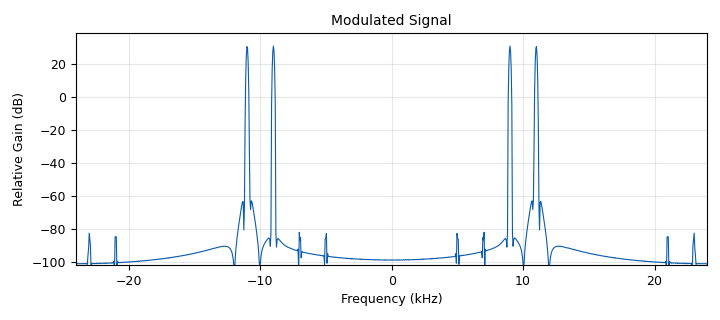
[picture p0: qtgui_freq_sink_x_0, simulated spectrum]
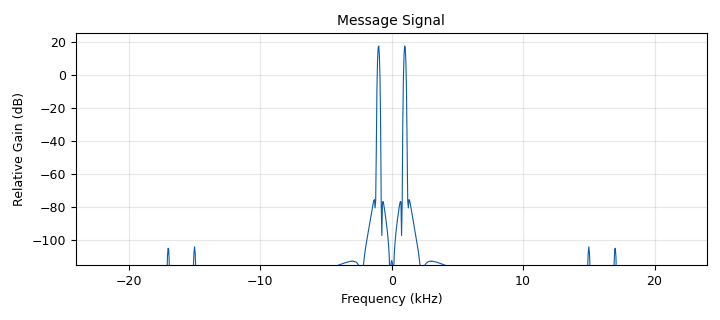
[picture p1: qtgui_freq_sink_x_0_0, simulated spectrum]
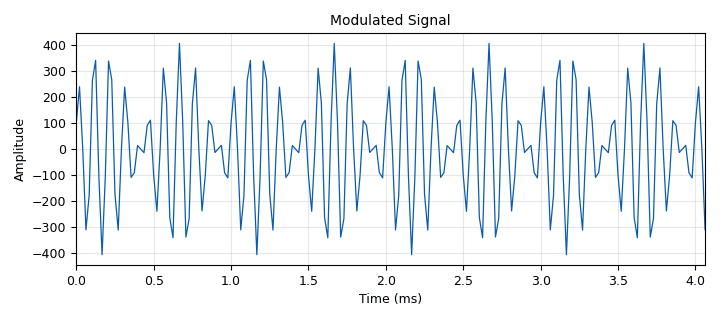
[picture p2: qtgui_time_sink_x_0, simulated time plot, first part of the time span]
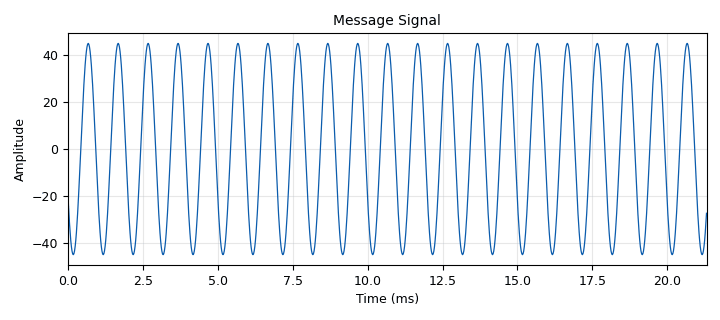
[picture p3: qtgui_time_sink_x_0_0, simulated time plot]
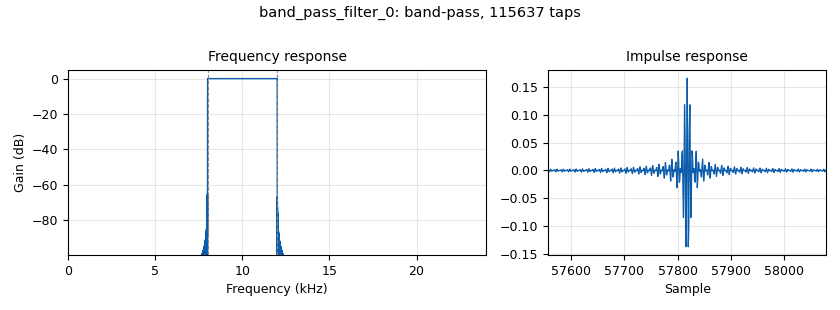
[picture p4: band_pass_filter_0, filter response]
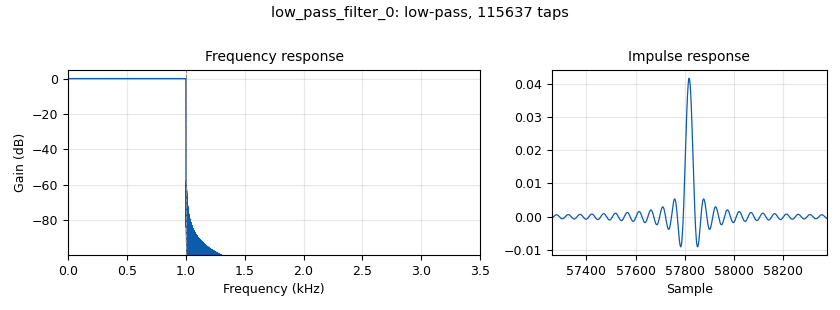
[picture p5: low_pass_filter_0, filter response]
options:
  parameters:
    author: etc-iiest
    generate_options: qt_gui
    id: dsb_sc_USRP
    output_language: python
    title: Not titled yet
  states: {}

blocks:
- name: carrier_amp
  id: variable
  parameters:
    value: msg_amp/mu
  states: {}
- name: msg_amp
  id: variable
  parameters:
    value: '45.0'
  states: {}
- name: mu
  id: variable
  parameters:
    value: '5'
  states: {}
- name: samp_rate
  id: variable
  parameters:
    value: '48000'
  states: {}
- name: analog_sig_source_x_0
  id: analog_sig_source_x
  parameters:
    amp: msg_amp
    freq: '1000'
    offset: '0'
    phase: '0'
    samp_rate: samp_rate
    type: float
    waveform: analog.GR_COS_WAVE
  states: {}
- name: analog_sig_source_x_1
  id: analog_sig_source_x
  parameters:
    amp: carrier_amp
    freq: '10000'
    offset: '0'
    phase: '0'
    samp_rate: samp_rate
    type: float
    waveform: analog.GR_COS_WAVE
  states: {}
- name: band_pass_filter_0
  id: band_pass_filter
  parameters:
    decim: '1'
    gain: '1'
    high_cutoff_freq: '12000'
    low_cutoff_freq: '8000'
    samp_rate: samp_rate
    type: fir_filter_fff
    width: '1'
    win: firdes.WIN_HAMMING
  states: {}
- name: blocks_complex_to_float_0
  id: blocks_complex_to_float
  parameters: {}
  states: {}
- name: blocks_float_to_complex_0
  id: blocks_float_to_complex
  parameters: {}
  states: {}
- name: blocks_multiply_xx_0
  id: blocks_multiply_xx
  parameters:
    type: float
  states: {}
- name: blocks_multiply_xx_2
  id: blocks_multiply_xx
  parameters:
    type: float
  states: {}
- name: blocks_throttle_0
  id: blocks_throttle
  parameters:
    samples_per_second: samp_rate
    type: float
  states: {}
- name: carrierSignal_0
  id: analog_sig_source_x
  parameters:
    amp: '1'
    freq: '10000'
    offset: '0'
    phase: '0'
    samp_rate: samp_rate
    type: float
    waveform: analog.GR_COS_WAVE
  states: {}
- name: low_pass_filter_0
  id: low_pass_filter
  parameters:
    cutoff_freq: '1000'
    decim: '1'
    gain: '1'
    samp_rate: samp_rate
    type: fir_filter_fff
    width: '1'
    win: firdes.WIN_HAMMING
  states: {}
- name: qtgui_freq_sink_x_0
  id: qtgui_freq_sink_x
  parameters:
    autoscale: 'True'
    bw: samp_rate
    ctrlpanel: 'True'
    fc: '0'
    fftsize: '1024'
    grid: 'True'
    name: '"Modulated Signal"'
    showports: 'True'
    type: float
    wintype: firdes.WIN_BLACKMAN_hARRIS
  states: {}
- name: qtgui_freq_sink_x_0_0
  id: qtgui_freq_sink_x
  parameters:
    autoscale: 'True'
    bw: samp_rate
    ctrlpanel: 'True'
    fc: '0'
    fftsize: '1024'
    grid: 'True'
    name: '"Message Signal"'
    showports: 'True'
    type: float
    wintype: firdes.WIN_BLACKMAN_hARRIS
  states: {}
- name: qtgui_freq_sink_x_0_1
  id: qtgui_freq_sink_x
  parameters:
    bw: samp_rate
    ctrlpanel: 'True'
    fc: '0'
    fftsize: '1024'
    name: '"Demodulated Signal"'
    showports: 'True'
    type: float
    wintype: firdes.WIN_BLACKMAN_hARRIS
  states: {}
- name: qtgui_freq_sink_x_0_1_0
  id: qtgui_freq_sink_x
  parameters:
    bw: samp_rate
    ctrlpanel: 'True'
    fc: '0'
    fftsize: '1024'
    name: '"LPF Input"'
    showports: 'True'
    type: float
    wintype: firdes.WIN_BLACKMAN_hARRIS
  states: {}
- name: qtgui_time_sink_x_0
  id: qtgui_time_sink_x
  parameters:
    autoscale: 'True'
    ctrlpanel: 'True'
    grid: 'True'
    label1: ''
    name: '"Modulated Signal"'
    size: '1024'
    srate: samp_rate
    type: float
  states: {}
- name: qtgui_time_sink_x_0_0
  id: qtgui_time_sink_x
  parameters:
    autoscale: 'True'
    ctrlpanel: 'True'
    grid: 'True'
    label1: ''
    name: '"Message Signal"'
    size: '1024'
    srate: samp_rate
    type: float
  states: {}
- name: qtgui_time_sink_x_0_0_0
  id: qtgui_time_sink_x
  parameters:
    autoscale: 'True'
    ctrlpanel: 'True'
    grid: 'True'
    label1: ''
    name: '"Demodulated Signal"'
    size: '1024'
    srate: samp_rate
    type: float
  states: {}
- name: uhd_usrp_sink_0
  id: uhd_usrp_sink
  parameters:
    ant0: '"TX/RX"'
    center_freq0: 1e9
    dev_addr: '"Serial=32428D5"'
    gain0: '70'
    norm_gain0: 'False'
    samp_rate: samp_rate
    sync: sync
    type: fc32
  states: {}
- name: uhd_usrp_source_1
  id: uhd_usrp_source
  parameters:
    ant0: RX2
    center_freq0: 1e9
    dc_offs_enb0: '0'
    dev_addr: '"Serial=32428D5"'
    dev_args: '""'
    gain0: '0'
    iq_imbal_enb0: '0'
    norm_gain0: 'False'
    samp_rate: samp_rate
    sync: sync
    type: fc32
  states: {}

connections:
- [analog_sig_source_x_0, '0', blocks_multiply_xx_0, '0']
- [analog_sig_source_x_0, '0', qtgui_freq_sink_x_0_0, '0']
- [analog_sig_source_x_0, '0', qtgui_time_sink_x_0_0, '0']
- [analog_sig_source_x_1, '0', blocks_multiply_xx_0, '1']
- [band_pass_filter_0, '0', blocks_multiply_xx_2, '0']
- [blocks_complex_to_float_0, '0', band_pass_filter_0, '0']
- [blocks_float_to_complex_0, '0', uhd_usrp_sink_0, '0']
- [blocks_multiply_xx_0, '0', blocks_throttle_0, '0']
- [blocks_multiply_xx_2, '0', low_pass_filter_0, '0']
- [blocks_multiply_xx_2, '0', qtgui_freq_sink_x_0_1_0, '0']
- [blocks_throttle_0, '0', blocks_float_to_complex_0, '0']
- [blocks_throttle_0, '0', qtgui_freq_sink_x_0, '0']
- [blocks_throttle_0, '0', qtgui_time_sink_x_0, '0']
- [carrierSignal_0, '0', blocks_multiply_xx_2, '1']
- [low_pass_filter_0, '0', qtgui_freq_sink_x_0_1, '0']
- [low_pass_filter_0, '0', qtgui_time_sink_x_0_0_0, '0']
- [uhd_usrp_source_1, '0', blocks_complex_to_float_0, '0']

metadata:
  file_format: 1
